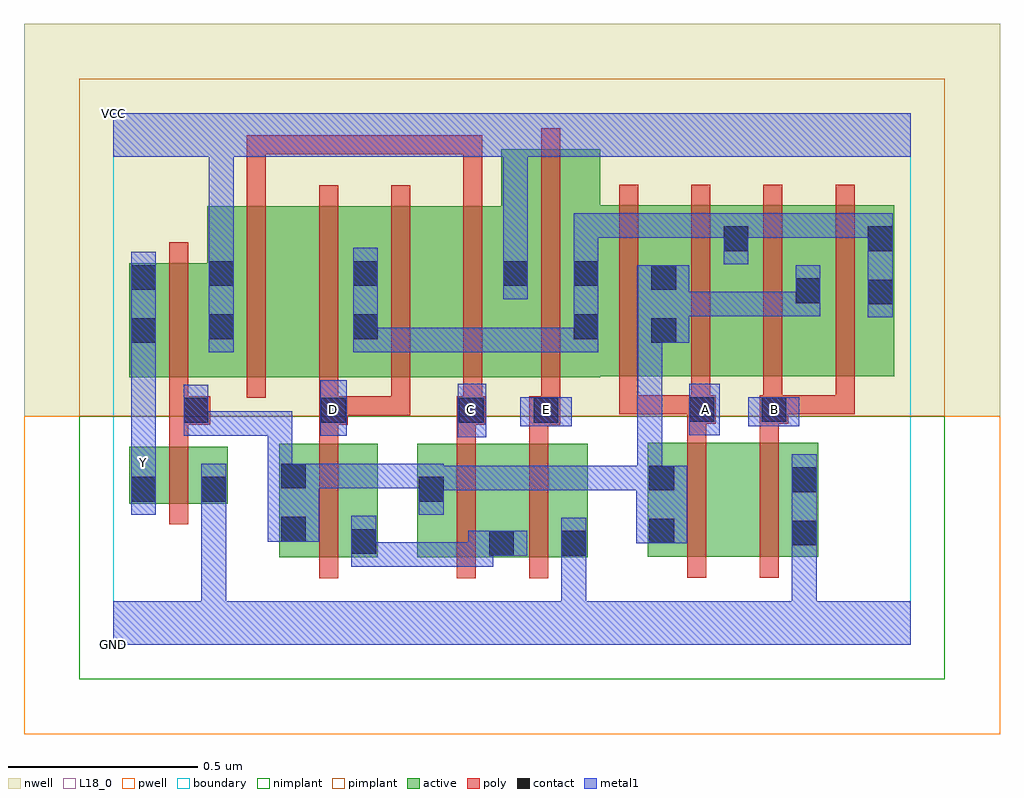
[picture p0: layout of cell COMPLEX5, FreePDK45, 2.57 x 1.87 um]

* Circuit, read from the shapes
.subckt COMPLEX5 A B C D E GND VCC Y
M1 GND n1 Y VSUBS nfet w=0.15u l=0.05u
M2 n2 D n1 VSUBS nfet w=0.3u l=0.05u
M3 n2 C n1 VSUBS nfet w=0.3u l=0.05u
M4 GND E n2 VSUBS nfet w=0.3u l=0.05u
M5 n3 A n1 VSUBS nfet w=0.3u l=0.05u
M6 GND B n3 VSUBS nfet w=0.3u l=0.05u
M7 VCC n1 Y n4 pfet w=0.3u l=0.05u
M8 n5 C VCC n4 pfet w=0.45u l=0.05u
M9 n6 D n5 n4 pfet w=0.45u l=0.05u
M10 n7 D n6 n4 pfet w=0.45u l=0.05u
M11 VCC C n7 n4 pfet w=0.45u l=0.05u
M12 n6 E VCC n4 pfet w=0.6u l=0.05u
M13 n1 A n6 n4 pfet w=0.45u l=0.05u m=2
M14 n1 B n6 n4 pfet w=0.45u l=0.05u m=2
.ends

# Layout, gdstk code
import gdstk
lib = gdstk.Library(unit=1e-6, precision=1e-09)
def R(c, l, rs):  # rectangles x0, y0, x1, y1
    for r in rs: c.add(gdstk.rectangle(r[:2], r[2:], *l))
def A(c, l, x, y, w, h, nx, ny, dx, dy):  # array of equal rectangles
    R(c, l, [(x+i*dx, y+j*dy, x+i*dx+w, y+j*dy+h) for i in range(nx) for j in range(ny)])
active = (1, 0)
pwell = (2, 0)
nwell = (3, 0)
nimplant = (4, 0)
pimplant = (5, 0)
poly = (9, 0)
contact = (10, 0)
metal1 = (11, 0)
L18_0 = (18, 0)
boundary = (235, 0)

complex5 = lib.new_cell('COMPLEX5')
A(complex5, active, 1.412, 0.707, 0.265, 0.45, 3, 1, 0.19, 0)
R(complex5, active, [(0.437,0.23,0.697,0.53), (0.622,0.23,0.697,0.53), (0.8,0.23,1.06,0.53), (0.985,0.23,1.25,0.53), (0.985,0.23,1.06,0.397), (1.175,0.23,1.25,0.53), (1.407,0.232,1.632,0.532), (1.632,0.232,1.857,0.532), (0.437,0.247,0.512,0.53), (0.8,0.247,0.875,0.53), (1.407,0.247,1.482,0.532), (1.782,0.247,1.857,0.532), (0.042,0.372,0.117,0.522), (0.042,0.372,0.302,0.522), (0.227,0.372,0.302,0.522), (0.042,0.705,0.117,1.005), (0.042,0.705,0.322,1.005), (0.247,0.705,0.472,1.155), (0.247,0.705,0.322,1.015), (0.472,0.705,0.702,1.155), (0.627,0.705,0.852,1.155), (0.627,0.705,0.702,1.155), (0.852,0.705,1.097,1.155), (1.022,0.705,1.282,1.305), (1.207,0.707,1.487,1.157), (1.207,0.707,1.282,1.2), (1.412,0.707,1.487,1.07), (1.792,0.707,1.867,1.07), (1.982,0.707,2.057,1.107), (1.022,0.722,1.097,1.107), (1.602,0.857,1.677,1.107)])
R(complex5, pwell, [(-0.235,-0.235,2.335,0.602)])
R(complex5, nwell, [(-0.235,0.602,2.335,1.635)])
R(complex5, nimplant, [(-0.09,-0.09,2.19,0.602)])
R(complex5, pimplant, [(-0.09,0.602,2.19,1.49)])
A(complex5, poly, 0.542, 0.605, 0.05, 0.095, 3, 1, 0.19, 0)
A(complex5, poly, 1.332, 0.607, 0.05, 0.095, 4, 1, 0.19, 0)
A(complex5, poly, 0.352, 0.65, 0.05, 0.56, 4, 1, 0.19, 0)
A(complex5, poly, 1.332, 0.652, 0.05, 0.56, 4, 1, 0.19, 0)
R(complex5, poly, [(0.542,0.175,0.592,0.585), (0.905,0.175,0.955,0.585), (1.095,0.175,1.145,0.585), (1.512,0.177,1.562,0.587), (1.702,0.177,1.752,0.587), (0.147,0.317,0.197,0.577), (0.147,0.527,0.197,0.63), (0.542,0.535,0.592,0.63), (0.905,0.535,0.955,0.63), (1.095,0.535,1.145,0.63), (1.512,0.537,1.562,0.632), (1.702,0.537,1.752,0.632), (0.147,0.58,0.255,0.655), (0.542,0.58,0.617,0.655), (0.905,0.58,0.98,0.655), (1.095,0.58,1.177,0.655), (1.512,0.582,1.587,0.657), (1.702,0.582,1.777,0.657), (0.147,0.605,0.197,0.7), (0.567,0.605,0.782,0.655), (0.732,0.605,0.782,0.655), (0.732,0.605,0.782,0.655), (0.732,0.605,0.782,0.655), (1.127,0.605,1.177,0.7), (1.332,0.607,1.385,0.657), (1.335,0.607,1.385,0.657), (1.335,0.607,1.385,0.657), (1.335,0.607,1.562,0.657), (1.727,0.607,1.952,0.657), (1.902,0.607,1.952,0.657), (1.902,0.607,1.952,0.657), (1.902,0.607,1.952,0.657), (0.147,0.65,0.197,1.06), (1.127,0.65,1.177,1.36), (0.352,1.16,0.402,1.342), (0.922,1.16,0.972,1.342), (0.352,1.292,0.402,1.342), (0.352,1.292,0.402,1.342), (0.352,1.292,0.402,1.342), (0.352,1.292,0.617,1.342), (0.567,1.292,0.617,1.342), (0.567,1.292,0.75,1.342), (0.7,1.292,0.75,1.342), (0.7,1.292,0.75,1.342), (0.7,1.292,0.75,1.342), (0.7,1.292,0.972,1.342), (0.922,1.292,0.972,1.342), (0.922,1.292,0.972,1.342), (0.922,1.292,0.972,1.342)])
R(complex5, contact, [(0.99,0.235,1.055,0.3), (1.18,0.235,1.245,0.3), (0.627,0.24,0.692,0.305), (1.787,0.262,1.852,0.327), (1.412,0.267,1.477,0.332), (0.442,0.272,0.507,0.337), (0.047,0.377,0.112,0.442), (0.232,0.377,0.297,0.442), (0.805,0.377,0.87,0.442), (1.787,0.402,1.852,0.467), (1.412,0.407,1.477,0.472), (0.442,0.412,0.507,0.477), (0.185,0.585,0.25,0.65), (0.547,0.585,0.612,0.65), (0.91,0.585,0.975,0.65), (1.107,0.585,1.172,0.65), (1.517,0.587,1.582,0.652), (1.707,0.587,1.772,0.652), (0.047,0.795,0.112,0.86), (1.417,0.795,1.482,0.86), (0.252,0.805,0.317,0.87), (0.632,0.805,0.697,0.87), (1.212,0.805,1.277,0.87), (1.987,0.897,2.052,0.962), (1.797,0.9,1.862,0.965), (0.047,0.935,0.112,1), (1.417,0.935,1.482,1), (0.252,0.945,0.317,1.01), (0.632,0.945,0.697,1.01), (1.027,0.945,1.092,1.01), (1.212,0.945,1.277,1.01), (1.607,1.037,1.672,1.102), (1.987,1.037,2.052,1.102)])
R(complex5, metal1, [(0,0,2.1,0.115), (0.232,0.05,0.297,0.115), (0.232,0.05,0.297,0.115), (0.232,0.05,0.297,0.115), (0.232,0.05,0.297,0.115), (0.232,0.05,0.297,0.407), (1.18,0.05,1.245,0.115), (1.18,0.05,1.245,0.115), (1.18,0.05,1.245,0.265), (1.787,0.05,1.852,0.115), (1.787,0.05,1.852,0.115), (1.787,0.05,1.852,0.292), (1.18,0.2,1.245,0.335), (0.627,0.205,0.692,0.34), (0.627,0.205,0.835,0.27), (0.77,0.205,0.835,0.27), (0.77,0.205,0.835,0.27), (0.77,0.205,0.835,0.27), (0.77,0.205,1,0.27), (0.935,0.205,1,0.3), (1.787,0.227,1.852,0.502), (0.935,0.235,1.02,0.3), (0.955,0.235,1.09,0.3), (1.377,0.267,1.512,0.472), (0.407,0.272,0.542,0.477), (0.047,0.342,0.112,0.477), (0.232,0.342,0.297,0.477), (0.805,0.342,0.87,0.477), (0.805,0.407,0.972,0.472), (0.907,0.407,0.972,0.472), (0.907,0.407,1.007,0.472), (0.942,0.407,1.007,0.472), (0.942,0.407,1.145,0.472), (1.08,0.407,1.145,0.472), (1.08,0.407,1.145,0.472), (1.08,0.407,1.145,0.472), (1.08,0.407,1.38,0.472), (1.315,0.407,1.38,0.472), (1.315,0.407,1.442,0.472), (1.38,0.407,1.445,0.86), (0.047,0.412,0.112,0.477), (0.047,0.412,0.112,0.547), (0.407,0.412,0.472,0.615), (0.477,0.412,0.68,0.477), (0.615,0.412,0.68,0.477), (0.615,0.412,0.68,0.477), (0.615,0.412,0.68,0.477), (0.615,0.412,0.835,0.477), (0.77,0.412,0.835,0.477), (0.77,0.412,0.87,0.477), (0.047,0.482,0.112,0.825), (0.907,0.547,0.982,0.687), (0.185,0.55,0.25,0.615), (0.185,0.55,0.25,0.615), (0.185,0.55,0.25,0.685), (0.185,0.55,0.472,0.615), (0.407,0.55,0.472,0.615), (0.407,0.55,0.472,0.615), (0.407,0.55,0.472,0.615), (0.545,0.55,0.615,0.697), (1.517,0.552,1.597,0.687), (1.072,0.575,1.207,0.652), (1.672,0.575,1.807,0.652), (0.047,0.76,0.112,1.035), (0.252,0.77,0.317,1.045), (0.632,0.77,0.697,1.045), (0.632,0.77,0.835,0.835), (0.77,0.77,0.835,0.835), (0.77,0.77,0.835,0.835), (0.77,0.77,0.835,0.835), (0.77,0.77,1,0.835), (0.935,0.77,1,0.835), (0.935,0.77,1.007,0.835), (0.942,0.77,1.007,0.835), (0.942,0.77,1.137,0.835), (1.072,0.77,1.137,0.835), (1.072,0.77,1.277,0.835), (1.212,0.77,1.277,1.045), (1.38,0.795,1.445,0.86), (1.38,0.795,1.445,0.86), (1.38,0.795,1.517,1), (1.987,0.862,2.052,1.137), (1.452,0.865,1.517,0.93), (1.452,0.865,1.517,0.93), (1.452,0.865,1.672,0.93), (1.607,0.865,1.672,0.93), (1.607,0.865,1.862,0.93), (1.797,0.865,1.862,0.93), (1.797,0.865,1.862,0.93), (1.797,0.865,1.862,1), (1.027,0.91,1.092,1.045), (0.252,0.98,0.317,1.35), (1.027,0.98,1.092,1.35), (1.212,0.98,1.277,1.137), (1.607,1.002,1.672,1.137), (1.212,1.072,1.277,1.137), (1.212,1.072,1.282,1.137), (1.217,1.072,1.282,1.137), (1.217,1.072,1.517,1.137), (1.452,1.072,1.517,1.137), (1.452,1.072,1.517,1.137), (1.452,1.072,1.517,1.137), (1.452,1.072,1.672,1.137), (1.607,1.072,1.672,1.137), (1.607,1.072,1.672,1.137), (1.607,1.072,1.81,1.137), (1.745,1.072,1.81,1.137), (1.745,1.072,2.052,1.137), (1.987,1.072,2.052,1.137), (1.987,1.072,2.052,1.137), (0,1.285,2.1,1.4), (0.252,1.285,0.317,1.35), (0.252,1.285,0.317,1.35)])
R(complex5, L18_0, [(0,0,2.1,0.115), (0.232,0.05,0.297,0.115), (0.232,0.05,0.297,0.115), (0.232,0.05,0.297,0.115), (0.232,0.05,0.297,0.115), (0.232,0.05,0.297,0.407), (1.18,0.05,1.245,0.115), (1.18,0.05,1.245,0.115), (1.18,0.05,1.245,0.265), (1.787,0.05,1.852,0.115), (1.787,0.05,1.852,0.115), (1.787,0.05,1.852,0.292), (1.18,0.2,1.245,0.335), (1.787,0.227,1.852,0.502), (0.047,0.342,0.112,0.477), (0.232,0.342,0.297,0.477), (0.047,0.412,0.112,0.547), (0.047,0.412,0.112,0.477), (0.047,0.447,0.112,0.512), (0.047,0.482,0.112,0.825), (0.907,0.547,0.982,0.687), (0.545,0.55,0.615,0.697), (1.517,0.552,1.597,0.687), (1.072,0.575,1.207,0.652), (1.672,0.575,1.807,0.652), (0.547,0.587,0.612,0.652), (0.907,0.587,0.972,0.652), (1.107,0.587,1.172,0.652), (1.527,0.587,1.592,0.652), (1.707,0.587,1.772,0.652), (0.047,0.76,0.112,1.035), (0.252,0.77,0.317,1.045), (1.027,0.91,1.092,1.045), (0.252,0.98,0.317,1.35), (1.027,0.98,1.092,1.35), (0,1.285,2.1,1.4), (0.252,1.285,0.317,1.35), (0.252,1.285,0.317,1.35)])
R(complex5, boundary, [(0,0,2.1,1.4)])
complex5.add(gdstk.Label('A', (1.56,0.62), layer=11, texttype=0))
complex5.add(gdstk.Label('B', (1.74,0.62), layer=11, texttype=0))
complex5.add(gdstk.Label('C', (0.94,0.62), layer=11, texttype=0))
complex5.add(gdstk.Label('D', (0.58,0.62), layer=11, texttype=0))
complex5.add(gdstk.Label('E', (1.14,0.62), layer=11, texttype=0))
complex5.add(gdstk.Label('Y', (0.08,0.48), layer=11, texttype=0))
complex5.add(gdstk.Label('VCC', (0,1.4), layer=11, texttype=0))
complex5.add(gdstk.Label('GND', (0,0), layer=11, texttype=0))

lib.write_gds('COMPLEX5.gds')
